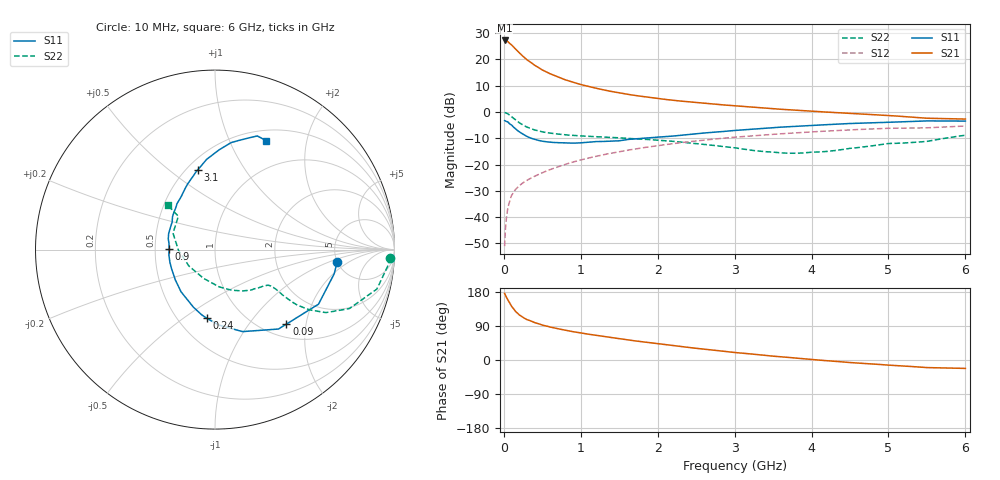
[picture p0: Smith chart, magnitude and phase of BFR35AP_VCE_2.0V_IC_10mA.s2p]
! (c) 2015  Infineon Technologies AG, Munich
! Infineon Technologies  Discrete & RF Semiconductors
! BFR35AP
! VCE =  2.0 V,  IC =  10 mA
! Common Emitter S-Parameters:  Nov 2015
# GHz  S  MA  R  50
!  f  S11  S21  S12  S22
! GHz  MAG  ANG  MAG  ANG  MAG  ANG  MAG  ANG
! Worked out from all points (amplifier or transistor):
!   210 points, 10 MHz to 6 GHz, reference 50 ohm
!   highest |S21| = 27.2 dB at 10 MHz (marker M1)
!   |S21| within 3 dB of that: start of sweep to 143.3 MHz
!   unconditionally stable (mu >= 1): 533.2 MHz to 3.879 GHz
!   at 185 MHz: K = 0.58, MSG = 25.7 dB, |S12| = -28.5 dB
!   at 1.52 GHz: K = 1.13, MAG = 8.9 dB, |S12| = -15.0 dB
!   at 6 GHz: K = 0.99, MSG = 1.3 dB, |S12| = -5.3 dB
!   S11 on the Smith chart (normalised r, x): 10 MHz: 5.00, -1.28; 90 MHz: 1.25, -1.55; 240 MHz: 0.69, -0.62; 900 MHz: 0.59, +0.01; 3.1 GHz: 0.57, +0.64; 6 GHz: 0.63, +1.38
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0.01  0.6848 -5.7  22.92 175.7  0.0028 87.9  0.9781 -2.7
0.02  0.6775 -11.5  22.87 171.0  0.0057 84.2  0.966 -5.6
0.05  0.6521 -27.8  21.93 158.9  0.0143 78.0  0.9284 -13.7
0.09  0.5749 -46.2  19.37 145.7  0.0235 69.1  0.8376 -21.5
0.1  0.5663 -51.4  18.92 141.9  0.0258 67.9  0.8177 -23.7
0.15  0.4821 -71.4  15.88 128.3  0.0334 62.8  0.7104 -29.6
0.2  0.4215 -86.9  13.4 119.1  0.0394 61.4  0.625 -32.5
0.24  0.3857 -96.8  11.76 113.7  0.0439 60.3  0.5745 -33.6
0.26  0.3705 -101.6  11.06 111.1  0.046 60.2  0.5528 -34.0
0.3  0.3425 -110.6  9.86 106.6  0.05 60.5  0.5163 -34.2
0.4  0.3018 -128.8  7.744 98.7  0.0598 61.2  0.4547 -33.9
0.5  0.2782 -142.6  6.295 92.2  0.0697 62.3  0.4172 -33.2
0.6  0.2667 -153.7  5.344 87.1  0.08 62.7  0.3963 -33.0
0.7  0.2611 -164.1  4.647 82.5  0.0901 63.4  0.3802 -32.9
0.9  0.2554 178.8  3.66 74.7  0.1117 63.2  0.3578 -33.7
1.02  0.2603 171.2  3.27 70.8  0.1243 63.1  0.3492 -34.9
1.4  0.2804 150.7  2.449 59.1  0.1648 60.5  0.3279 -39.9
2.02  0.3338 128.8  1.788 42.5  0.2307 54.3  0.2887 -52.2
3.1  0.4558 102.0  1.274 18.1  0.3399 40.8  0.1978 -88.5
4.1  0.5645 86.4  1.014 -0.3  0.4259 27.4  0.1735 -154.7
5.1  0.6437 74.2  0.838 -14.7  0.4904 13.5  0.2534 154.1
6  0.6709 64.7  0.733 -22.2  0.5405 3.6  0.3615 136.8
